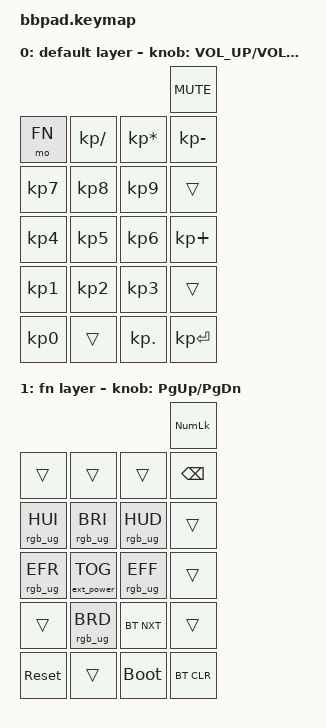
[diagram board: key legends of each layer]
/*
 * Copyright (c) 2023 The ZMK Contributors
 *
 * SPDX-License-Identifier: MIT
 */

#include <behaviors.dtsi>
#include <dt-bindings/zmk/keys.h>
#include <dt-bindings/zmk/bt.h>
#include <dt-bindings/zmk/rgb.h>
#include <dt-bindings/zmk/ext_power.h>
#include <dt-bindings/zmk/outputs.h>

#define DEFAULT  0
#define FN       1

#define TIMEOUT 300

&encoder_1 {
    status = "okay";
};

/ {

    chosen {
      zmk,battery = &vbatt;
    };

    vbatt: vbatt {
        compatible = "zmk,battery-nrf-vddh";
        label = "VBATT";
    };

    sensors {
        compatible = "zmk,keymap-sensors";
        sensors = <&encoder_1>;
    };

    keymap0: keymap {
        compatible = "zmk,keymap";

        default_layer {
            label = "default layer";
            bindings = <
                                                               &kp C_MUTE
                &mo FN       &kp KP_DIVIDE   &kp KP_MULTIPLY   &kp KP_MINUS
                &kp KP_N7    &kp KP_N8       &kp KP_N9         &trans
                &kp KP_N4    &kp KP_N5       &kp KP_N6         &kp KP_PLUS
                &kp KP_N1    &kp KP_N2       &kp KP_N3         &trans
                &kp KP_N0    &trans          &kp KP_DOT        &kp KP_ENTER
            >;
            sensor-bindings = <&inc_dec_kp C_VOL_UP C_VOL_DN>;
        }; 

        fn_layer {
            label = "fn layer";
            bindings = <
                                                                     &kp KP_NUM
                &trans           &trans             &trans           &kp BSPC
                &rgb_ug RGB_HUI  &rgb_ug RGB_BRI    &rgb_ug RGB_HUD  &trans
                &rgb_ug RGB_EFR  &ext_power EP_TOG  &rgb_ug RGB_EFF  &trans
                &trans           &rgb_ug RGB_BRD    &bt BT_NXT       &trans
                &sys_reset       &trans             &bootloader      &bt BT_CLR
            >;  
            sensor-bindings = <&inc_dec_kp PG_UP PG_DN>;
        };

    };
};
